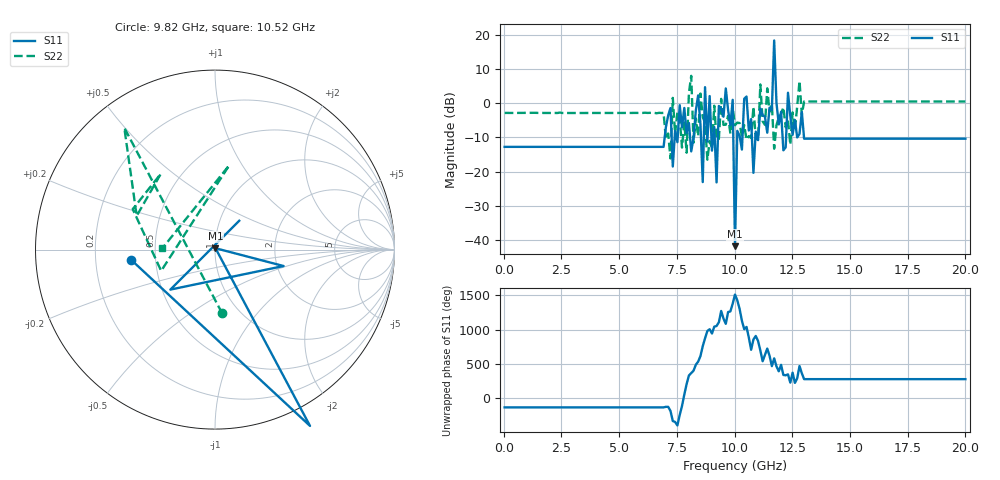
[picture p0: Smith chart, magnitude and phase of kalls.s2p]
! Micran, Research & Production Company
! Date: 2025-04-14 14:16:15
! Frequency	S11	S21	S12	S22
# Hz S dB R 50
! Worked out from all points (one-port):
!   201 points, 40 MHz to 20 GHz, reference 50 ohm
!   lowest |S11| = -41.8 dB at 10.02 GHz (marker M1), VSWR 1.02, Z = 50.3 + j0.775 ohm
!   |S11| at or under -10 dB: start of sweep to 6.975 GHz; 8.074 GHz to 8.226 GHz (151.7 MHz wide, 1.86 % of centre); 13.01 GHz to end of sweep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
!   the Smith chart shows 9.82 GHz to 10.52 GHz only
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4e7  -12.78 -129.5  -200.00 0.0  -200.00 0.0  -2.88 146.3
3.4332e9  -12.78 -129.5  -200.00 0.0  -200.00 0.0  -2.89 146.3
6.7266e9  -12.78 -129.5  -200.00 0.0  -200.00 0.0  -2.85 146.5
8.024e9  -5.81 -25.3  -200.00 0.0  -200.00 0.0  2.98 -49.2
8.1238e9  -14.11 10.1  -200.00 0.0  -200.00 0.0  7.96 89.5
8.2236e9  -10.20 44.0  -200.00 0.0  -200.00 0.0  -11.55 123.3
8.7226e9  4.64 154.9  -200.00 0.0  -200.00 0.0  -5.71 149.1
8.9222e9  2.05 -73.0  -200.00 0.0  -200.00 0.0  -11.04 150.5
9.521e9  -3.98 82.2  -200.00 0.0  -200.00 0.0  -6.37 165.2
9.9202e9  0.95 -61.7  -200.00 0.0  -200.00 0.0  -1.45 126.7
1.002e10  -41.77 70.9  -200.00 0.0  -200.00 0.0  -6.47 156.7
1.04192e10  1.27 -72.5  -200.00 0.0  -200.00 0.0  -6.44 80.4
1.08184e10  -20.36 138.3  -200.00 0.0  -200.00 0.0  -1.07 170.2
1.11178e10  -1.60 -21.9  -200.00 0.0  -200.00 0.0  5.43 47.7
1.13174e10  -4.00 -88.3  -200.00 0.0  -200.00 0.0  -6.37 168.4
1.14172e10  -8.65 5.8  -200.00 0.0  -200.00 0.0  4.31 -17.4
1.16168e10  -1.99 109.9  -200.00 0.0  -200.00 0.0  -0.35 -116.1
1.17166e10  18.28 -136.9  -200.00 0.0  -200.00 0.0  -13.32 -126.9
1.18164e10  0.07 107.1  -200.00 0.0  -200.00 0.0  -6.45 154.4
1.34132e10  -10.40 -79.0  -200.00 0.0  -200.00 0.0  0.46 35.8
1.67066e10  -10.40 -78.9  -200.00 0.0  -200.00 0.0  0.46 35.8
2e10  -10.40 -78.9  -200.00 0.0  -200.00 0.0  0.46 35.8
